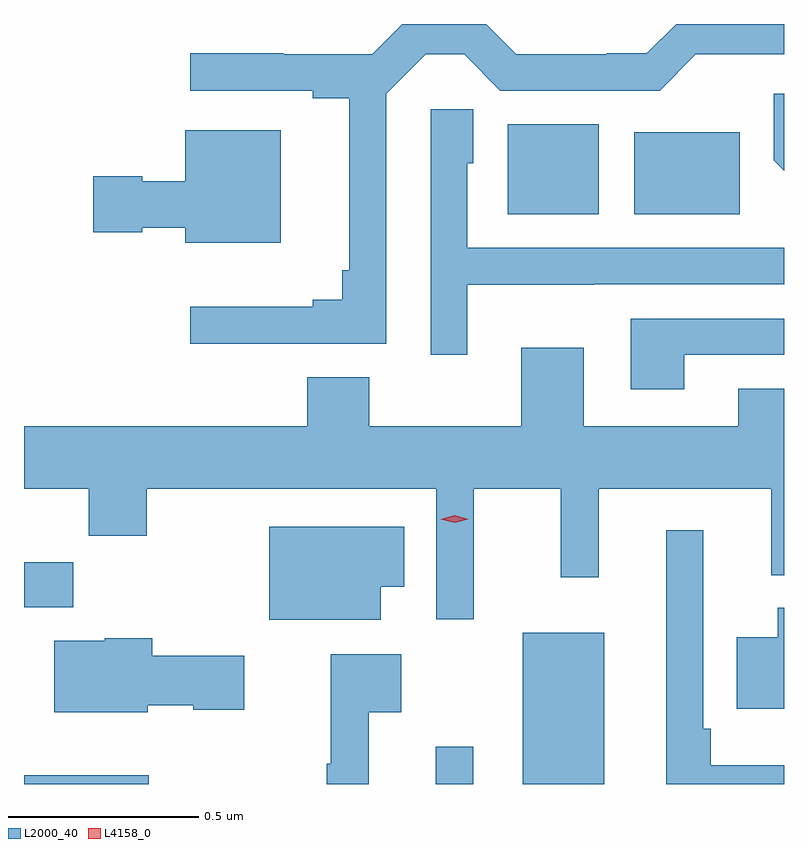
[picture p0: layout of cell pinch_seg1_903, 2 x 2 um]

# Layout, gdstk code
import gdstk
lib = gdstk.Library(unit=1e-6, precision=1e-09)
def R(c, l, rs):  # rectangles x0, y0, x1, y1
    for r in rs: c.add(gdstk.rectangle(r[:2], r[2:], *l))
def P(c, l, *ps):  # polygons
    for p in ps: c.add(gdstk.Polygon(p, *l))
L2000_40 = (2000, 40)
L4158_0 = (4158, 0)

pinch_seg1_903 = lib.new_cell('pinch_seg1_903')
R(pinch_seg1_903, L2000_40, [(626.026,536.303,626.354,536.326), (627.11,536.303,627.208,536.401), (627.338,536.303,627.553,536.701), (626.026,536.768,626.156,536.887), (627.299,537.803,627.538,538.039), (627.632,537.803,627.91,538.018)])
P(pinch_seg1_903, L2000_40, [(626.675,537.462),(626.979,537.462),(626.979,538.119),(627.083,538.223),(627.184,538.223),(627.279,538.128),(627.699,538.128),(627.794,538.223),(627.898,538.223),(627.898,538.224),(628.026,538.224),(628.026,538.303),(627.742,538.303),(627.665,538.226),(627.56,538.226),(627.56,538.224),(627.321,538.224),(627.242,538.303),(627.021,538.303),(626.942,538.224),(626.709,538.224),(626.709,538.226),(626.463,538.226),(626.463,538.128),(626.786,538.128),(626.786,538.108),(626.882,538.108),(626.882,537.655),(626.863,537.655),(626.863,537.578),(626.786,537.578),(626.786,537.559),(626.463,537.559),(626.463,537.461),(626.675,537.461)],
  [(628.026,538.12),(627.999,538.12),(627.999,537.944),(628.026,537.917)],
  [(627.193,537.617),(627.527,537.617),(627.527,537.618),(628.026,537.618),(628.026,537.714),(627.192,537.714),(627.192,537.936),(627.208,537.936),(627.208,538.079),(627.096,538.079),(627.096,537.432),(627.193,537.432)],
  [(626.701,538.024),(626.45,538.024),(626.45,537.889),(626.337,537.889),(626.337,537.902),(626.208,537.902),(626.208,537.755),(626.337,537.755),(626.337,537.767),(626.45,537.767),(626.45,537.728),(626.701,537.728)],
  [(627.763,537.432),(628.026,537.432),(628.026,537.528),(627.623,537.528),(627.623,537.342),(627.763,537.342)],
  [(627.21,537.08),(627.439,537.08),(627.439,536.847),(627.539,536.847),(627.539,537.08),(627.992,537.08),(627.992,536.852),(628.026,536.852),(628.026,537.343),(627.905,537.343),(627.905,537.244),(627.499,537.244),(627.499,537.451),(627.335,537.451),(627.335,537.244),(626.935,537.244),(626.935,537.373),(626.771,537.373),(626.771,537.244),(626.026,537.244),(626.026,537.08),(626.197,537.08),(626.197,536.956),(626.349,536.956),(626.349,537.08),(627.111,537.08),(627.111,536.736),(627.21,536.736)],
  [(626.965,536.822),(627.026,536.822),(627.026,536.98),(626.672,536.98),(626.672,536.735),(626.965,536.735)],
  [(628.026,536.353),(627.833,536.353),(627.833,536.449),(627.813,536.449),(627.813,536.971),(627.716,536.971),(627.716,536.303),(628.026,536.303)],
  [(628.026,536.767),(628.01,536.767),(628.01,536.689),(627.902,536.689),(627.902,536.501),(628.026,536.501)],
  [(626.352,536.51),(626.472,536.51),(626.472,536.498),(626.605,536.498),(626.605,536.64),(626.364,536.64),(626.364,536.686),(626.238,536.686),(626.238,536.68),(626.105,536.68),(626.105,536.492),(626.352,536.492)],
  [(626.933,536.492),(627.019,536.492),(627.019,536.644),(626.833,536.644),(626.833,536.356),(626.823,536.356),(626.823,536.303),(626.933,536.303)])
P(pinch_seg1_903, L4158_0, [(627.159,536.99),(627.123,537),(627.123,537),(627.123,537),(627.159,537.01),(627.195,537),(627.195,537),(627.195,537)])

lib.write_gds('pinch_seg1_903.gds')
